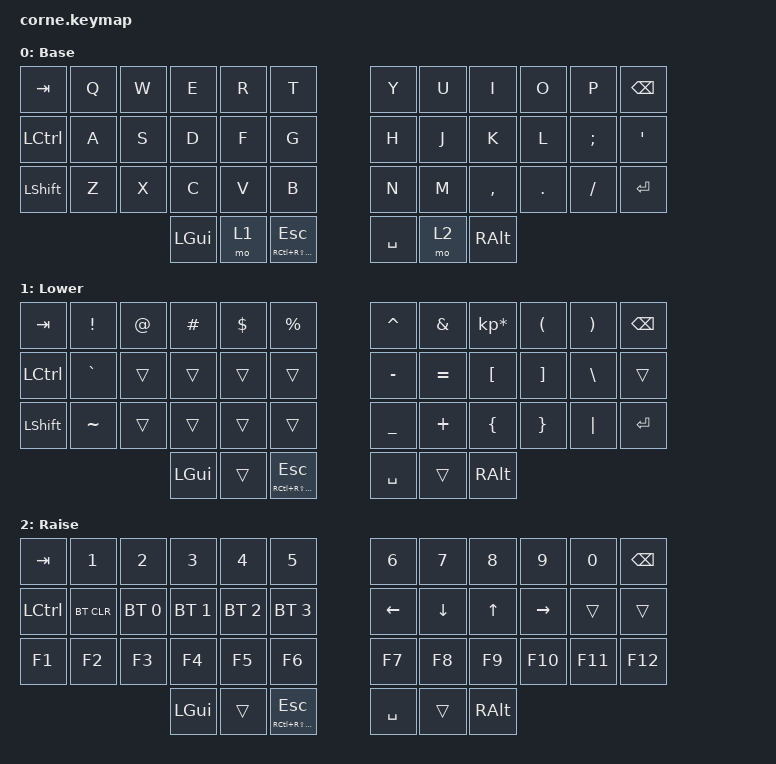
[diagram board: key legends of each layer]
/*
 * Copyright (c) 2020 The ZMK Contributors
 *
 * SPDX-License-Identifier: MIT
 */

#include <behaviors.dtsi>
#include <dt-bindings/zmk/keys.h>
#include <dt-bindings/zmk/bt.h>

/ {
        keymap {
                compatible = "zmk,keymap";

                default_layer {
// -----------------------------------------------------------------------------------------
// | TAB  |  Q  |  W  |  F  |  P  |  G  |         |  J  |  L   |  U  |  Y  |  ;  | BKSP |
// | CTRL |  A  |  R  |  S  |  T  |  D  |         |  H  |  N   |  E  |  I  |  O  |  '   |
// | SHFT |  Z  |  X  |  C  |  V  |  B  |         |  K  |  M   |  ,  |  .  |  /  | ENT  |
//                    | GUI | LWR | HYPER/ESC |   | SPC | RSE  | ALT |
                        display-name = "Base";
                        bindings = <
   &kp TAB   &kp Q &kp W &kp E    &kp R &kp T                        &kp Y     &kp U  &kp I     &kp O   &kp P    &kp BSPC
   &kp LCTRL &kp A &kp S &kp D    &kp F &kp G                        &kp H     &kp J  &kp K     &kp L   &kp SEMI &kp SQT
   &kp LSHFT &kp Z &kp X &kp C    &kp V &kp B                        &kp N     &kp M  &kp COMMA &kp DOT &kp FSLH &kp RET
                         &kp LGUI &mo 1 &mt RC(RS(RA(RGUI))) ESC     &kp SPACE &mo 2  &kp RALT

                        >;
                };
                lower_layer {
// -----------------------------------------------------------------------------------------
// | TAB  |  !  |  @  |  #  |  $  |  %  |         |  ^  |  &  |  *  |  (  |  )  | BKSP |
// | CTRL |  `  |     |     |     |     |         |  -  |  =  |  [  |  ]  |  \  |      |
// | SHFT |  ~  |     |     |     |     |         |  _  |  +  |  {  |  }  | "|" | ENT  |
//                    | GUI |     | HYPER/ESC |   | SPC | RSE | ALT |
                        display-name = "Lower";
                        bindings = <
   &kp TAB   &kp EXCL  &kp AT &kp HASH &kp DLLR &kp PRCNT                    &kp CARET &kp AMPS  &kp KP_MULTIPLY &kp LPAR &kp RPAR &kp BSPC
   &kp LCTRL &kp GRAVE &trans &trans   &trans   &trans                       &kp MINUS &kp EQUAL &kp LBKT        &kp RBKT &kp BSLH &trans
   &kp LSHFT &kp TILDE &trans &trans   &trans   &trans                       &kp UNDER &kp PLUS  &kp LBRC        &kp RBRC &kp PIPE &kp RET
                              &kp LGUI &trans   &mt RC(RS(RA(RGUI))) ESC     &kp SPACE &trans    &kp RALT
                        >;
                };

                raise_layer {
// -----------------------------------------------------------------------------------------
// | TAB  | F1  | F2  | F3  | F4  | F5  |         | F6  | F7  | F8  | F9  | F10 | BKSP |
// | CTRL |  1  |  2  |  3  |  4  |  5  |         |  6  |  7  |  8  |  9  |  0  |      |
// | SHFT |     |     |     |     |     |         |     | LFT | DWN | UP  | RGT | ENT  |
//                    | GUI | LWR | HYPER/ESC |   | SPC |     | ALT |
                        display-name = "Raise";
                        bindings = <
   &kp TAB   &kp N1     &kp N2       &kp N3       &kp N4       &kp N5                       &kp N6    &kp N7   &kp N8   &kp N9    &kp N0    &kp BSPC
   &kp LCTRL &bt BT_CLR &bt BT_SEL 0 &bt BT_SEL 1 &bt BT_SEL 2 &bt BT_SEL 3                 &kp LEFT  &kp DOWN &kp UP   &kp RIGHT &trans    &trans
   &kp F1    &kp F2     &kp F3       &kp F4       &kp F5       &kp F6                       &kp F7    &kp F8   &kp F9   &kp F10   &kp F11   &kp F12
                                     &kp LGUI     &trans       &mt RC(RS(RA(RGUI))) ESC     &kp SPACE &trans   &kp RALT

                        >;
                };
        };
};
